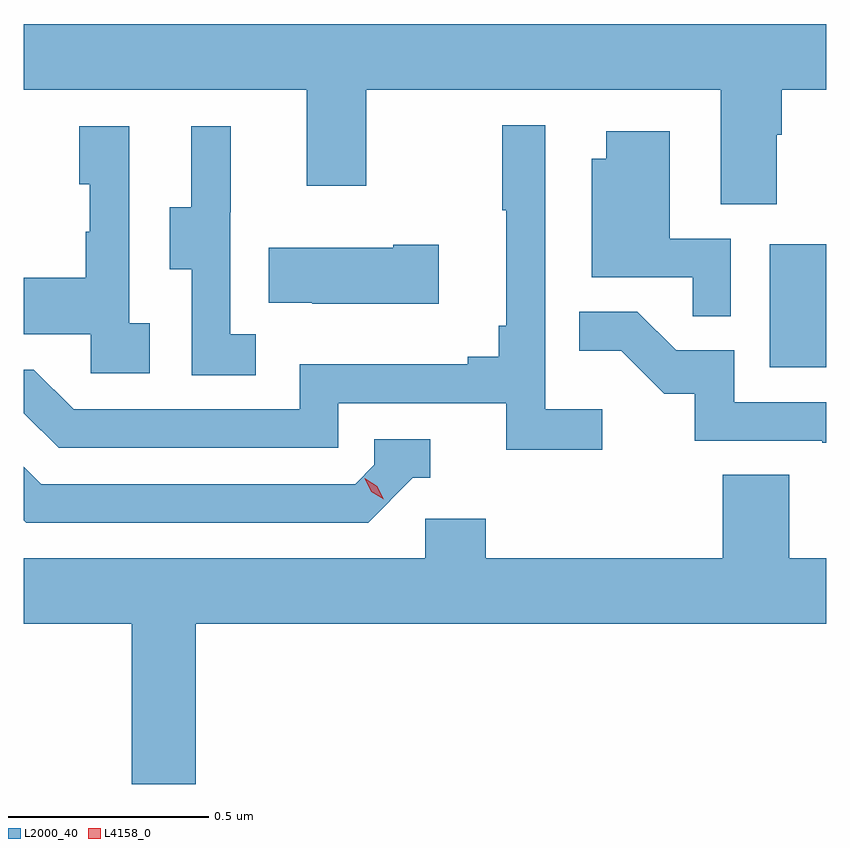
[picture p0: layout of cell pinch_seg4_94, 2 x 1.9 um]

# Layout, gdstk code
import gdstk
lib = gdstk.Library(unit=1e-6, precision=1e-09)
def R(c, l, rs):  # rectangles x0, y0, x1, y1
    for r in rs: c.add(gdstk.rectangle(r[:2], r[2:], *l))
def P(c, l, *ps):  # polygons
    for p in ps: c.add(gdstk.Polygon(p, *l))
L2000_40 = (2000, 40)
L4158_0 = (4158, 0)

pinch_seg4_94 = lib.new_cell('pinch_seg4_94')
R(pinch_seg4_94, L2000_40, [(1068.902,821.436,1069.042,821.743)])
P(pinch_seg4_94, L2000_40, [(1068.919,822.016),(1068.932,822.016),(1068.932,822.128),(1069.042,822.128),(1069.042,822.292),(1067.042,822.292),(1067.042,822.128),(1067.747,822.128),(1067.747,821.889),(1067.895,821.889),(1067.895,822.128),(1068.779,822.128),(1068.779,821.842),(1068.919,821.842)],
  [(1068.484,821.332),(1068.342,821.332),(1068.342,822.04),(1068.234,822.04),(1068.234,821.827),(1068.245,821.827),(1068.245,821.539),(1068.226,821.539),(1068.226,821.462),(1068.149,821.462),(1068.149,821.443),(1067.73,821.443),(1067.73,821.331),(1067.166,821.331),(1067.067,821.43),(1067.042,821.43),(1067.042,821.322),(1067.129,821.235),(1067.826,821.235),(1067.826,821.346),(1068.245,821.346),(1068.245,821.23),(1068.484,821.23)],
  [(1067.62,821.519),(1067.556,821.519),(1067.556,821.823),(1067.558,821.823),(1067.558,822.037),(1067.459,822.037),(1067.459,821.835),(1067.405,821.835),(1067.405,821.68),(1067.46,821.68),(1067.46,821.416),(1067.62,821.416)],
  [(1067.356,821.546),(1067.304,821.546),(1067.304,822.037),(1067.18,822.037),(1067.18,821.892),(1067.206,821.892),(1067.206,821.774),(1067.196,821.774),(1067.196,821.659),(1067.042,821.659),(1067.042,821.519),(1067.208,821.519),(1067.208,821.421),(1067.356,821.421)],
  [(1068.804,821.757),(1068.652,821.757),(1068.652,822.025),(1068.494,822.025),(1068.494,821.956),(1068.458,821.956),(1068.458,821.661),(1068.709,821.661),(1068.709,821.563),(1068.804,821.563)],
  [(1068.076,821.742),(1067.963,821.742),(1067.963,821.734),(1067.653,821.734),(1067.653,821.597),(1067.761,821.597),(1067.761,821.594),(1068.076,821.594)],
  [(1069.042,821.349),(1068.813,821.349),(1068.813,821.478),(1068.668,821.478),(1068.571,821.575),(1068.427,821.575),(1068.427,821.477),(1068.531,821.477),(1068.638,821.37),(1068.715,821.37),(1068.715,821.253),(1069.033,821.253),(1069.033,821.248),(1069.042,821.248)],
  [(1068.012,821.16),(1068.055,821.16),(1068.055,821.256),(1067.916,821.256),(1067.916,821.193),(1067.868,821.145),(1067.085,821.145),(1067.042,821.188),(1067.042,821.055),(1067.048,821.049),(1067.901,821.049)],
  [(1067.471,820.796),(1069.042,820.796),(1069.042,820.96),(1068.95,820.96),(1068.95,821.168),(1068.785,821.168),(1068.785,820.96),(1068.194,820.96),(1068.194,821.058),(1068.042,821.058),(1068.042,820.96),(1067.042,820.96),(1067.042,820.796),(1067.311,820.796),(1067.311,820.397),(1067.471,820.397)])
P(pinch_seg4_94, L4158_0, [(1067.939,821.107),(1067.908,821.126),(1067.892,821.159),(1067.892,821.159),(1067.892,821.159),(1067.923,821.139),(1067.939,821.107),(1067.939,821.107)])

lib.write_gds('pinch_seg4_94.gds')
